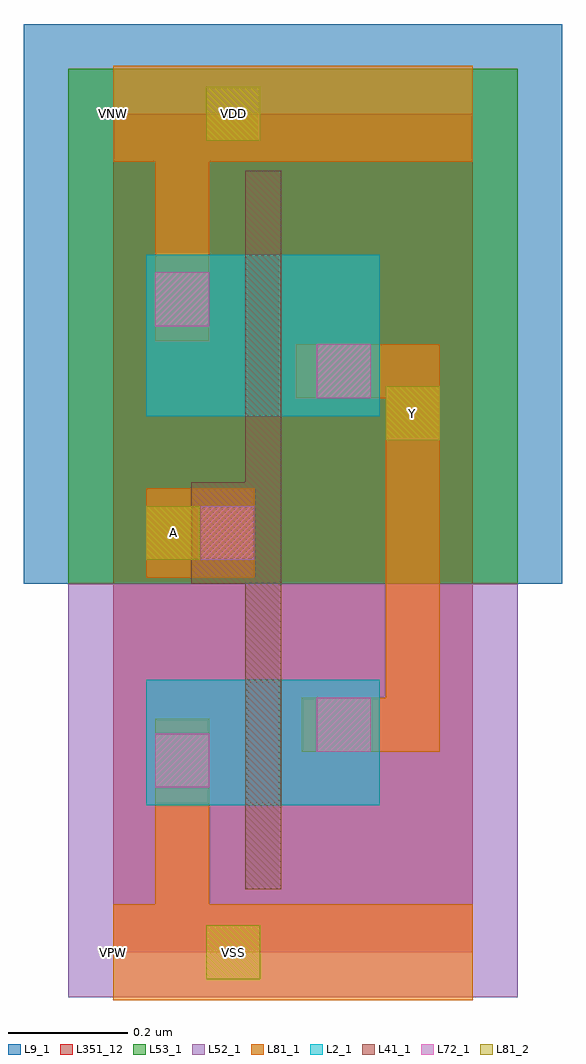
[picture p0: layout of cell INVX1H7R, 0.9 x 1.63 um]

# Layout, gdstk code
import gdstk
lib = gdstk.Library(unit=1e-6, precision=1e-09)
def R(c, l, rs):  # rectangles x0, y0, x1, y1
    for r in rs: c.add(gdstk.rectangle(r[:2], r[2:], *l))
def P(c, l, *ps):  # polygons
    for p in ps: c.add(gdstk.Polygon(p, *l))
L2_1 = (2, 1)
L9_1 = (9, 1)
L41_1 = (41, 1)
L52_1 = (52, 1)
L53_1 = (53, 1)
L72_1 = (72, 1)
L81_1 = (81, 1)
L81_2 = (81, 2)
L351_12 = (351, 12)

invx1h7r = lib.new_cell('INVX1H7R')
R(invx1h7r, L2_1, [(0.055,0.245,0.445,0.455), (0.055,0.895,0.445,1.165)])
R(invx1h7r, L9_1, [(-0.15,0.615,0.75,1.55)])
P(invx1h7r, L41_1, [(0.22,0.105),(0.22,0.615),(0.13,0.615),(0.13,0.785),(0.22,0.785),(0.22,1.305),(0.28,1.305),(0.28,0.105)])
R(invx1h7r, L52_1, [(-0.075,-0.075,0.675,0.615)])
R(invx1h7r, L53_1, [(-0.075,0.615,0.675,1.475)])
R(invx1h7r, L72_1, [(0.07,0.275,0.16,0.365), (0.34,0.335,0.43,0.425), (0.145,0.655,0.235,0.745), (0.34,0.925,0.43,1.015), (0.07,1.045,0.16,1.135)])
R(invx1h7r, L81_1, [(0.055,0.625,0.235,0.775)])
P(invx1h7r, L81_1, [(0.315,0.335),(0.315,0.425),(0.455,0.425),(0.455,0.925),(0.305,0.925),(0.305,1.015),(0.545,1.015),(0.545,0.335)],
  [(0.07,1.02),(0.07,1.32),(0,1.32),(0,1.48),(0.6,1.48),(0.6,1.32),(0.16,1.32),(0.16,1.02)],
  [(0,-0.08),(0,0.08),(0.07,0.08),(0.07,0.39),(0.16,0.39),(0.16,0.08),(0.6,0.08),(0.6,-0.08)])
R(invx1h7r, L81_2, [(0.155,-0.045,0.245,0.045), (0.055,0.655,0.145,0.745), (0.455,0.855,0.545,0.945), (0.155,1.355,0.245,1.445)])
R(invx1h7r, L351_12, [(0,0,0.6,1.4)])
invx1h7r.add(gdstk.Label('VDD', (0.2,1.4), layer=81, texttype=6))
invx1h7r.add(gdstk.Label('Y', (0.5,0.9), layer=81, texttype=6))
invx1h7r.add(gdstk.Label('A', (0.1,0.7), layer=81, texttype=6))
invx1h7r.add(gdstk.Label('VSS', (0.2,0), layer=81, texttype=6))
invx1h7r.add(gdstk.Label('VDD', (0.2,1.4), layer=81, texttype=2))
invx1h7r.add(gdstk.Label('Y', (0.5,0.9), layer=81, texttype=2))
invx1h7r.add(gdstk.Label('A', (0.1,0.7), layer=81, texttype=2))
invx1h7r.add(gdstk.Label('VSS', (0.2,0), layer=81, texttype=2))
invx1h7r.add(gdstk.Label('VPW', (0,0), layer=261, texttype=12))
invx1h7r.add(gdstk.Label('VNW', (0,1.4), layer=9, texttype=1))

lib.write_gds('INVX1H7R.gds')
